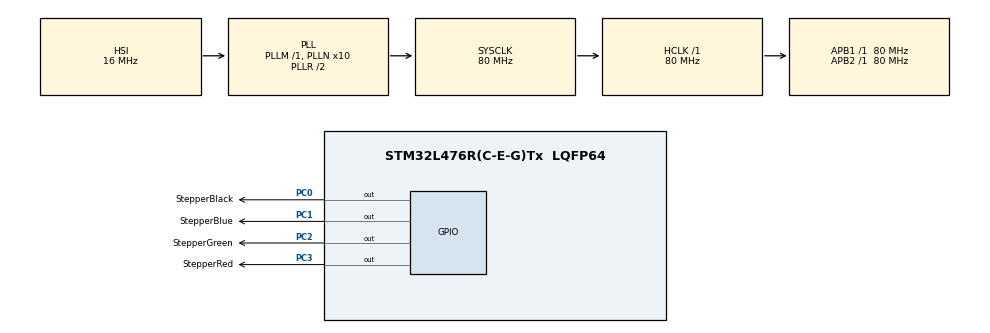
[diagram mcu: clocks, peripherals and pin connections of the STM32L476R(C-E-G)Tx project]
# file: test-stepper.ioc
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Mcu.Family=STM32L4
Mcu.Name=STM32L476R(C-E-G)Tx
Mcu.Package=LQFP64
NVIC.PriorityGroup=NVIC_PRIORITYGROUP_4
PA13\ (JTMS-SWDIO).Mode=Serial_Wire
PA13\ (JTMS-SWDIO).Signal=SYS_JTMS-SWDIO
PA14\ (JTCK-SWCLK).Mode=Serial_Wire
PA14\ (JTCK-SWCLK).Signal=SYS_JTCK-SWCLK
PC0.GPIO_Label=StepperBlack
PC0.Signal=GPIO_Output
PC1.GPIO_Label=StepperBlue
PC1.Signal=GPIO_Output
PC2.GPIO_Label=StepperGreen
PC2.Signal=GPIO_Output
PC3.GPIO_Label=StepperRed
PC3.Signal=GPIO_Output
ProjectManager.HeapSize=0x200
ProjectManager.StackSize=0x400
ProjectManager.TargetToolchain=STM32CubeIDE
RCC.ADCFreq_Value=64000000
RCC.AHBFreq_Value=80000000
RCC.APB1Freq_Value=80000000
RCC.APB1TimFreq_Value=80000000
RCC.APB2Freq_Value=80000000
RCC.APB2TimFreq_Value=80000000
RCC.CortexFreq_Value=80000000
RCC.HCLKFreq_Value=80000000
RCC.HSE_VALUE=8000000
RCC.HSI_VALUE=16000000
RCC.LSE_VALUE=32768
RCC.MSI_VALUE=4000000
RCC.PLLN=10
RCC.PLLSourceVirtual=RCC_PLLSOURCE_HSI
RCC.SYSCLKFreq_VALUE=80000000
RCC.SYSCLKSource=RCC_SYSCLKSOURCE_PLLCLK
RCC.USBFreq_Value=64000000
RCC.VCOOutputFreq_Value=160000000
board=custom

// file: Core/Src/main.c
/* USER CODE BEGIN Header */
/**
  ******************************************************************************
  * @file           : main.c
  * @brief          : Main program body
  ******************************************************************************
  * @attention
  *
  * Copyright (c) 2024 STMicroelectronics.
  * All rights reserved.
  *
  * This software is licensed under terms that can be found in the LICENSE file
  * in the root directory of this software component.
  * If no LICENSE file comes with this software, it is provided AS-IS.
  *
  ******************************************************************************
  */
/* USER CODE END Header */
#include "main.h"

/* USER CODE BEGIN Includes */
#include "Custom/stepper-motor.h"
/* USER CODE END Includes */

/* USER CODE BEGIN PV */
stepper_motor_t stepper;
uint8_t microstep_count = 8; // number of microsteps in one full step
bool forwards = true;
int counter = 0;
/* USER CODE END PV */

void SystemClock_Config(void);
static void MX_GPIO_Init(void);

/* USER CODE BEGIN 0 */
void setup(void) {
	stepper_motor_init(&stepper, GPIOC, (uint16_t[4]) { StepperBlack_Pin, StepperBlue_Pin, StepperGreen_Pin, StepperRed_Pin }, STEPPER_MOTOR_HALF_DRIVE);
	//microstep_count = stepper_motor_microstep_count(&stepper);
}

void loop(void) {
	counter++;

	if (counter > 250) {
		counter = 0;
		forwards = !forwards;
		stepper_motor_depower(&stepper); // IMPORTANT depower coils to prevent over-draw
		HAL_Delay(1000);
	}

	// perform one full step
	void (*microstep)(stepper_motor_t *) = forwards ? stepper_motor_microstep : stepper_motor_microstep_back;

	for (int i = 0; i < microstep_count; i++) {
		microstep(&stepper);
		HAL_Delay(1);
	}
}
/* USER CODE END 0 */

int main(void)
{

  /* MCU Configuration--------------------------------------------------------*/

  /* Reset of all peripherals, Initializes the Flash interface and the Systick. */
  HAL_Init();

  /* Configure the system clock */
  SystemClock_Config();

  /* Initialize all configured peripherals */
  MX_GPIO_Init();
  /* USER CODE BEGIN 2 */
  setup();
  /* USER CODE END 2 */

  /* Infinite loop */
  /* USER CODE BEGIN WHILE */
  while (1)
  {
	loop();
    /* USER CODE END WHILE */

  }
}

void SystemClock_Config(void)
{
  RCC_OscInitTypeDef RCC_OscInitStruct = {0};
  RCC_ClkInitTypeDef RCC_ClkInitStruct = {0};

  /** Configure the main internal regulator output voltage
  */
  if (HAL_PWREx_ControlVoltageScaling(PWR_REGULATOR_VOLTAGE_SCALE1) != HAL_OK)
  {
    Error_Handler();
  }

  /** Initializes the RCC Oscillators according to the specified parameters
  * in the RCC_OscInitTypeDef structure.
  */
  RCC_OscInitStruct.OscillatorType = RCC_OSCILLATORTYPE_HSI;
  RCC_OscInitStruct.HSIState = RCC_HSI_ON;
  RCC_OscInitStruct.HSICalibrationValue = RCC_HSICALIBRATION_DEFAULT;
  RCC_OscInitStruct.PLL.PLLState = RCC_PLL_ON;
  RCC_OscInitStruct.PLL.PLLSource = RCC_PLLSOURCE_HSI;
  RCC_OscInitStruct.PLL.PLLM = 1;
  RCC_OscInitStruct.PLL.PLLN = 10;
  RCC_OscInitStruct.PLL.PLLP = RCC_PLLP_DIV7;
  RCC_OscInitStruct.PLL.PLLQ = RCC_PLLQ_DIV2;
  RCC_OscInitStruct.PLL.PLLR = RCC_PLLR_DIV2;
  if (HAL_RCC_OscConfig(&RCC_OscInitStruct) != HAL_OK)
  {
    Error_Handler();
  }

  /** Initializes the CPU, AHB and APB buses clocks
  */
  RCC_ClkInitStruct.ClockType = RCC_CLOCKTYPE_HCLK|RCC_CLOCKTYPE_SYSCLK
                              |RCC_CLOCKTYPE_PCLK1|RCC_CLOCKTYPE_PCLK2;
  RCC_ClkInitStruct.SYSCLKSource = RCC_SYSCLKSOURCE_PLLCLK;
  RCC_ClkInitStruct.AHBCLKDivider = RCC_SYSCLK_DIV1;
  RCC_ClkInitStruct.APB1CLKDivider = RCC_HCLK_DIV1;
  RCC_ClkInitStruct.APB2CLKDivider = RCC_HCLK_DIV1;

  if (HAL_RCC_ClockConfig(&RCC_ClkInitStruct, FLASH_LATENCY_4) != HAL_OK)
  {
    Error_Handler();
  }
}

static void MX_GPIO_Init(void)
{
  GPIO_InitTypeDef GPIO_InitStruct = {0};

  /* GPIO Ports Clock Enable */
  __HAL_RCC_GPIOC_CLK_ENABLE();
  __HAL_RCC_GPIOA_CLK_ENABLE();

  /*Configure GPIO pin Output Level */
  HAL_GPIO_WritePin(GPIOC, StepperBlack_Pin|StepperBlue_Pin|StepperGreen_Pin|StepperRed_Pin, GPIO_PIN_RESET);

  /*Configure GPIO pins : StepperBlack_Pin StepperBlue_Pin StepperGreen_Pin StepperRed_Pin */
  GPIO_InitStruct.Pin = StepperBlack_Pin|StepperBlue_Pin|StepperGreen_Pin|StepperRed_Pin;
  GPIO_InitStruct.Mode = GPIO_MODE_OUTPUT_PP;
  GPIO_InitStruct.Pull = GPIO_NOPULL;
  GPIO_InitStruct.Speed = GPIO_SPEED_FREQ_LOW;
  HAL_GPIO_Init(GPIOC, &GPIO_InitStruct);

}

void Error_Handler(void)
{
  __disable_irq();
  while (1)
  {
  }
}
